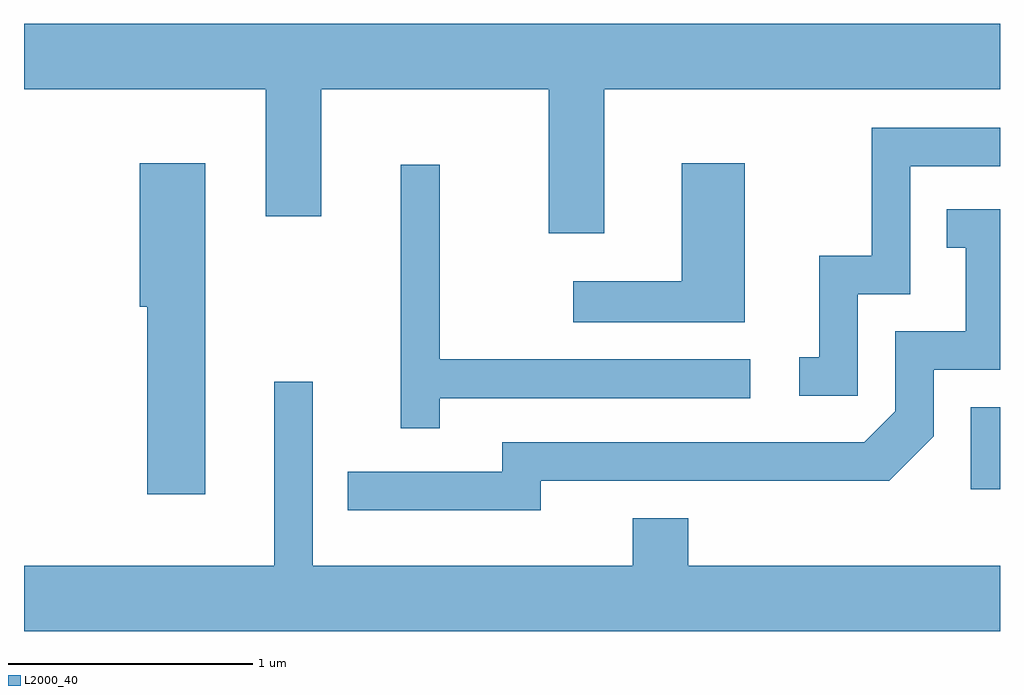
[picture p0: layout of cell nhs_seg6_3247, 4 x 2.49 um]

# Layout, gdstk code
import gdstk
lib = gdstk.Library(unit=1e-6, precision=1e-09)
def R(c, l, rs):  # rectangles x0, y0, x1, y1
    for r in rs: c.add(gdstk.rectangle(r[:2], r[2:], *l))
def P(c, l, *ps):  # polygons
    for p in ps: c.add(gdstk.Polygon(p, *l))
L2000_40 = (2000, 40)

nhs_seg6_3247 = lib.new_cell('nhs_seg6_3247')
R(nhs_seg6_3247, L2000_40, [(287.491,1559.498,287.611,1559.834)])
P(nhs_seg6_3247, L2000_40, [(285.989,1561.136),(287.611,1561.136),(287.611,1561.404),(283.611,1561.404),(283.611,1561.136),(284.601,1561.136),(284.601,1560.616),(284.829,1560.616),(284.829,1561.136),(285.761,1561.136),(285.761,1560.546),(285.989,1560.546)],
  [(287.029,1560.296),(287.244,1560.296),(287.244,1560.821),(287.611,1560.821),(287.611,1560.979),(287.086,1560.979),(287.086,1560.454),(286.871,1560.454),(286.871,1560.039),(286.788,1560.039),(286.788,1559.881),(287.029,1559.881)],
  [(284.354,1560.834),(284.086,1560.834),(284.086,1560.246),(284.116,1560.246),(284.116,1559.476),(284.354,1559.476)],
  [(286.564,1560.834),(286.306,1560.834),(286.306,1560.349),(285.863,1560.349),(285.863,1560.181),(286.564,1560.181)],
  [(285.314,1559.871),(286.588,1559.871),(286.588,1560.029),(285.314,1560.029),(285.314,1560.828),(285.156,1560.828),(285.156,1559.748),(285.314,1559.748)],
  [(285.729,1559.531),(287.157,1559.531),(287.339,1559.714),(287.339,1559.986),(287.611,1559.986),(287.611,1560.644),(287.393,1560.644),(287.393,1560.486),(287.471,1560.486),(287.471,1560.144),(287.181,1560.144),(287.181,1559.817),(287.054,1559.689),(285.571,1559.689),(285.571,1559.569),(284.938,1559.569),(284.938,1559.411),(285.729,1559.411)],
  [(287.611,1559.184),(286.334,1559.184),(286.334,1559.379),(286.106,1559.379),(286.106,1559.184),(284.794,1559.184),(284.794,1559.938),(284.636,1559.938),(284.636,1559.184),(283.611,1559.184),(283.611,1558.916),(287.611,1558.916)])

lib.write_gds('nhs_seg6_3247.gds')
